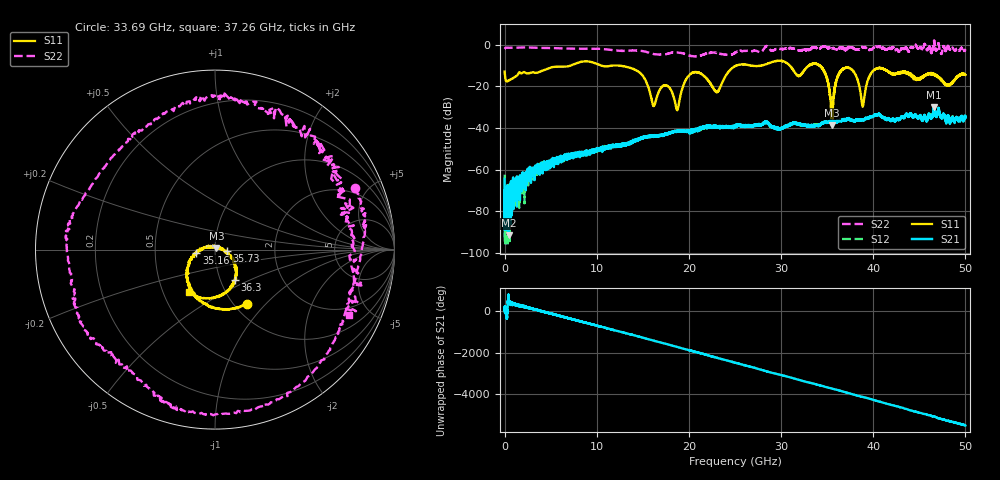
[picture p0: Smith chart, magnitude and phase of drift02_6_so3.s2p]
!Created with skrf (http://scikit-rf.org).
# Hz S RI R 50.0
!freq ReS11 ImS11 ReS21 ImS21 ReS12 ImS12 ReS22 ImS22
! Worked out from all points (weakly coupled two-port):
!   10001 points, 300 kHz to 50 GHz, reference 50 ohm
!   highest |S21| = -29.95 dB at 46.6 GHz (marker M1); lowest = -91.4 dB at 445.3 MHz (marker M2)
!   lowest |S11| = -38.7 dB at 35.54 GHz (marker M3), VSWR 1.02, Z = 50.8 + j0.874 ohm
!   |S11| at or under -10 dB: start of sweep to 7.177 GHz; 12.31 GHz to 25.17 GHz (12.87 GHz wide, 68.7 % of centre); 34.2 GHz to end of sweep (the widest 3 of 18)
!   |S22| runs from -5.7 to 2.0 dB; largest |S21 - S12| = 0.0031
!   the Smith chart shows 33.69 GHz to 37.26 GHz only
!   S11 on the Smith chart (normalised r, x): 33.69 GHz: 1.14, -0.78; 35.16 GHz: 0.81, -0.03; 35.73 GHz: 1.14, -0.01; 36.3 GHz: 1.17, -0.42; 37.26 GHz: 0.67, -0.35
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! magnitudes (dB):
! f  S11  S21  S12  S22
! 300 kHz  -12.9  -64.4  -62.4  -2.1
! 445.3 MHz  -17.2  -91.4  -75.4  -1.5
! 8.335 GHz  -8.2  -51.7  -52.3  -1.9
! 14.02 GHz  -11.7  -46.5  -46.1  -2.8
! 16.14 GHz  -29.2  -44.0  -43.8  -4.4
! 16.67 GHz  -23.2  -43.6  -43.7  -4.8
! 18.73 GHz  -31.3  -41.4  -41.4  -3.7
! 20.24 GHz  -13.8  -40.5  -41.7  -5.5
! 23.03 GHz  -22.7  -39.4  -39.6  -4.1
! 25 GHz  -10.3  -38.6  -39.6  -3.9
! 33.34 GHz  -9.3  -38.5  -38.9  -1.6
! 33.69 GHz  -9.1  -38.5  -38.8  -1.4
! 35.16 GHz  -19.6  -37.0  -37.2  -1.7
! 35.54 GHz  -38.7  -36.9  -36.8  -1.8
! 35.73 GHz  -23.6  -37.2  -36.5  -1.8
! 36.3 GHz  -13.8  -36.3  -36.5  -1.5
! 37.26 GHz  -11.1  -35.4  -35.8  -1.6
! 38.86 GHz  -29.8  -36.3  -36.0  -1.2
! 39.96 GHz  -12.7  -34.5  -34.5  -1.8
! 41.67 GHz  -13.0  -35.6  -35.6  -1.9
! 46.6 GHz  -14.6  -29.9  -30.7  1.8
! 50 GHz  -14.5  -35.0  -34.5  -2.7
